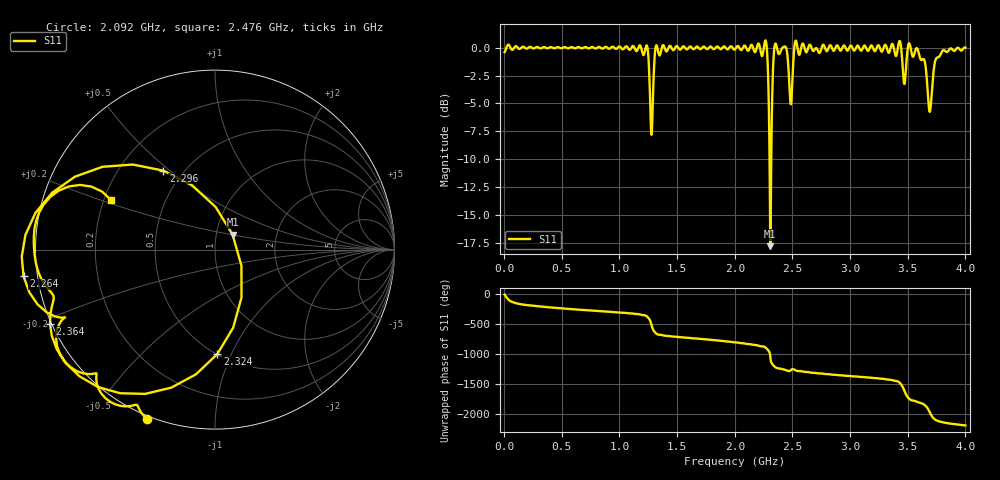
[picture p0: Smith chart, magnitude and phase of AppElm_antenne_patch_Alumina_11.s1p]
! TOUCHSTONE file generated by CST MICROWAVE STUDIO
! Date and time: Thu Jun  9 08:55:05 2022
! Project name: AppElm_antenne_patch_Alumina.cst
! Parameters = {L=38.125; W=41.8; e=0.035; h=1.6; lambda=0.190476; ls=90; w0=1.12; w1=0.373; ws=90; y0=14; y1=10}
! Header version: 2018
! Port assignment regex: !\s*Touchstone port\s*([0-9]+)\s*=\s*(CST MWS port|CST DS port)\s*([0-9]+|Zmin|Zmax)\s*\(\"(.*)\"\)(\s*mode\s*([0-9]+))?.*
! Touchstone port assignment:
! Touchstone port 1 = CST MWS port 1 ("")
# GHz S MA R 50
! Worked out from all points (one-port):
!   1000 points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, 4 MHz to 4 GHz, reference 50 ohm
!   lowest |S11| = -17.8 dB at 2.308 GHz (marker M1), VSWR 1.30, Z = 59.9 + j10.2 ohm
!   |S11| at or under -10 dB: 2.302 GHz to 2.316 GHz (14.78 MHz wide, 0.64 % of centre)
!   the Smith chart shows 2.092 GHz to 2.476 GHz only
!   S11 on the Smith chart (normalised r, x): 2.092 GHz: -0.01, -0.68; 2.264 GHz: -0.04, -0.07; 2.296 GHz: 0.39, +0.48; 2.324 GHz: 0.50, -0.89; 2.364 GHz: -0.00, -0.21; 2.476 GHz: 0.23, +0.22
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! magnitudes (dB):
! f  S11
! 4 MHz  -0.4
! 504 MHz  0.0
! 1.004 GHz  0.1
! 1.232 GHz  0.2
! 1.276 GHz  -7.8
! 1.324 GHz  0.2
! 1.504 GHz  0.1
! 2.004 GHz  -0.1
! 2.092 GHz  0.1
! 2.264 GHz  0.6
! 2.28 GHz  -0.3
! 2.296 GHz  -5.6
! 2.308 GHz  -17.8
! 2.324 GHz  -4.7
! 2.34 GHz  -0.4
! 2.364 GHz  0.1
! 2.44 GHz  0.1
! 2.476 GHz  -3.8
! 2.504 GHz  -2.0
! 2.532 GHz  0.6
! 3.004 GHz  0.2
! 3.428 GHz  0.6
! 3.472 GHz  -3.3
! 3.504 GHz  0.2
! 3.64 GHz  -1.0
! 3.692 GHz  -5.8
! 3.756 GHz  -0.9
! 4 GHz  0.0
